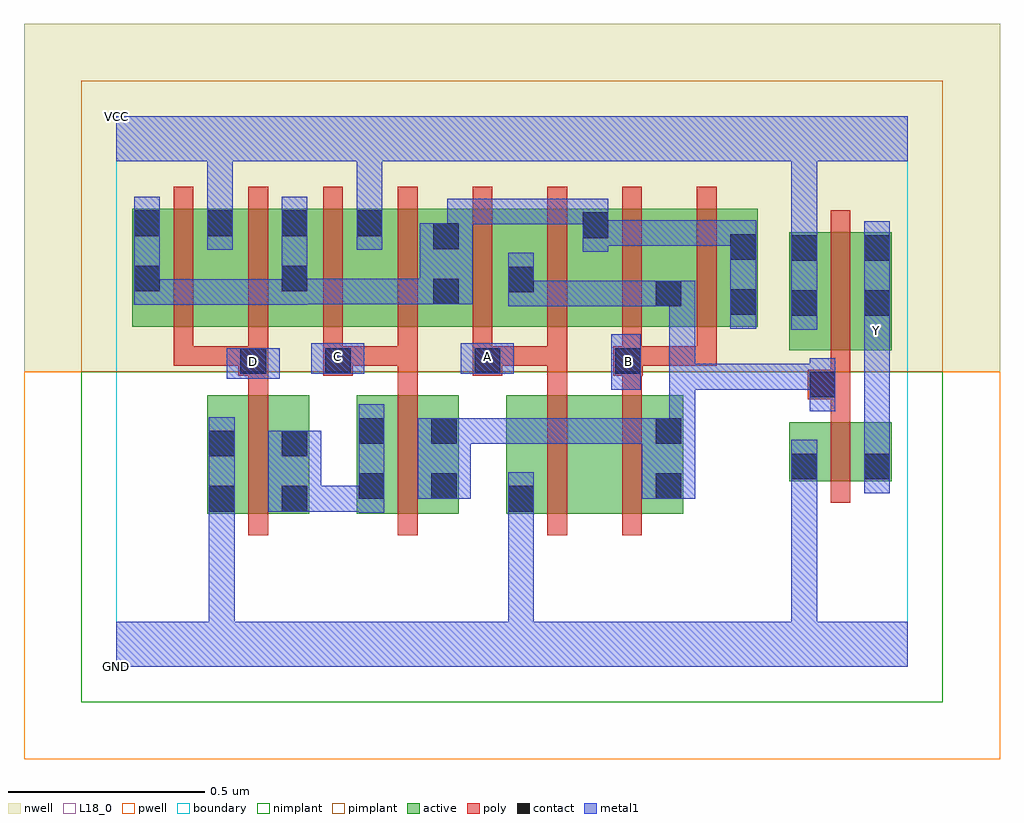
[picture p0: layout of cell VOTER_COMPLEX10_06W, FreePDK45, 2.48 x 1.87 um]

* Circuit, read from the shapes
.subckt VOTER_COMPLEX10_06W A B C D GND VCC Y
M1 n1 D GND VSUBS nfet w=0.3u l=0.05u
M2 n2 C n1 VSUBS nfet w=0.3u l=0.05u
M3 n3 A GND VSUBS nfet w=0.3u l=0.05u
M4 n2 B n3 VSUBS nfet w=0.3u l=0.05u
M5 Y n2 GND VSUBS nfet w=0.15u l=0.05u
M6 VCC D n4 n5 pfet w=0.3u l=0.05u m=2
M7 VCC C n4 n5 pfet w=0.3u l=0.05u m=2
M8 n2 A n4 n5 pfet w=0.3u l=0.05u m=2
M9 n2 B n4 n5 pfet w=0.3u l=0.05u m=2
M10 Y n2 VCC n5 pfet w=0.3u l=0.05u
.ends

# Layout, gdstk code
import gdstk
lib = gdstk.Library(unit=1e-6, precision=1e-09)
def R(c, l, rs):  # rectangles x0, y0, x1, y1
    for r in rs: c.add(gdstk.rectangle(r[:2], r[2:], *l))
def A(c, l, x, y, w, h, nx, ny, dx, dy):  # array of equal rectangles
    R(c, l, [(x+i*dx, y+j*dy, x+i*dx+w, y+j*dy+h) for i in range(nx) for j in range(ny)])
active = (1, 0)
pwell = (2, 0)
nwell = (3, 0)
nimplant = (4, 0)
pimplant = (5, 0)
poly = (9, 0)
contact = (10, 0)
metal1 = (11, 0)
L18_0 = (18, 0)
boundary = (235, 0)

voter_complex10_06w = lib.new_cell('VOTER_COMPLEX10_06W')
A(voter_complex10_06w, active, 0.225, 0.865, 0.075, 0.3, 3, 1, 0.19, 0)
R(voter_complex10_06w, active, [(0.23,0.39,0.305,0.69), (0.23,0.39,0.49,0.69), (0.415,0.39,0.49,0.69), (0.61,0.39,0.87,0.69), (0.99,0.39,1.215,0.69), (0.99,0.39,1.065,0.69), (1.215,0.39,1.44,0.69), (0.61,0.395,0.685,0.69), (0.795,0.395,0.87,0.69), (1.365,0.395,1.44,0.69), (1.71,0.472,1.785,0.622), (1.71,0.472,1.97,0.622), (1.895,0.472,1.97,0.622), (1.71,0.805,1.785,1.105), (1.71,0.805,1.97,1.105), (1.895,0.805,1.97,1.105), (0.04,0.865,0.115,1.165), (0.04,0.865,0.3,1.165), (0.225,0.865,0.49,1.165), (0.415,0.865,0.68,1.165), (0.605,0.865,0.875,1.165), (0.8,0.865,1.065,1.165), (0.8,0.865,0.875,1.132), (0.99,0.865,1.255,1.165), (1.18,0.865,1.255,1.16), (1.18,0.865,1.44,1.165), (1.365,0.865,1.63,1.165), (1.555,0.865,1.63,1.105), (1.365,0.912,1.44,1.07), (0.99,0.947,1.065,1.07)])
R(voter_complex10_06w, pwell, [(-0.235,-0.235,2.245,0.75)])
R(voter_complex10_06w, nwell, [(-0.235,0.75,2.245,1.635)])
R(voter_complex10_06w, nimplant, [(-0.09,-0.09,2.1,0.75)])
R(voter_complex10_06w, pimplant, [(-0.09,0.75,2.1,1.49)])
A(voter_complex10_06w, poly, 0.335, 0.335, 0.05, 0.41, 3, 1, 0.38, 0)
A(voter_complex10_06w, poly, 0.145, 0.765, 0.05, 0.095, 8, 1, 0.19, 0)
A(voter_complex10_06w, poly, 0.145, 0.81, 0.05, 0.41, 8, 1, 0.19, 0)
R(voter_complex10_06w, poly, [(1.285,0.335,1.335,0.745), (1.815,0.417,1.865,0.677), (1.815,0.627,1.865,0.73), (1.757,0.68,1.865,0.755), (0.335,0.695,0.385,0.79), (0.715,0.695,0.765,0.815), (1.095,0.695,1.145,0.815), (1.285,0.695,1.335,0.79), (1.815,0.705,1.865,0.8), (0.31,0.74,0.385,0.815), (0.525,0.74,0.6,0.815), (0.905,0.74,0.98,0.815), (1.262,0.74,1.337,0.815), (1.815,0.75,1.865,1.16), (0.145,0.765,0.195,0.815), (0.145,0.765,0.195,0.815), (0.145,0.765,0.195,0.815), (0.145,0.765,0.36,0.815), (0.55,0.765,0.6,0.815), (0.55,0.765,0.6,0.815), (0.55,0.765,0.765,0.815), (0.715,0.765,0.765,0.815), (0.93,0.765,0.98,0.815), (0.93,0.765,0.98,0.815), (0.93,0.765,1.145,0.815), (1.095,0.765,1.145,0.815), (1.287,0.765,1.525,0.815), (1.287,0.765,1.337,0.815), (1.287,0.765,1.337,0.815), (1.475,0.765,1.525,0.815)])
A(voter_complex10_06w, contact, 0.23, 1.095, 0.065, 0.065, 3, 1, 0.19, 0)
R(voter_complex10_06w, contact, [(0.235,0.395,0.3,0.46), (0.42,0.395,0.485,0.46), (0.995,0.395,1.06,0.46), (0.615,0.427,0.68,0.492), (0.8,0.427,0.865,0.492), (1.37,0.427,1.435,0.492), (1.715,0.477,1.78,0.542), (1.9,0.477,1.965,0.542), (0.235,0.535,0.3,0.6), (0.42,0.535,0.485,0.6), (0.615,0.567,0.68,0.632), (0.8,0.567,0.865,0.632), (1.37,0.567,1.435,0.632), (1.762,0.685,1.827,0.75), (0.315,0.745,0.38,0.81), (0.53,0.745,0.595,0.81), (0.91,0.745,0.975,0.81), (1.267,0.745,1.332,0.81), (1.715,0.892,1.78,0.957), (1.9,0.892,1.965,0.957), (1.56,0.895,1.625,0.96), (1.37,0.917,1.435,0.982), (0.805,0.922,0.87,0.987), (0.995,0.952,1.06,1.017), (0.045,0.955,0.11,1.02), (0.42,0.955,0.485,1.02), (1.715,1.032,1.78,1.097), (1.9,1.032,1.965,1.097), (1.56,1.035,1.625,1.1), (0.805,1.062,0.87,1.127), (1.185,1.09,1.25,1.155), (0.045,1.095,0.11,1.16)])
R(voter_complex10_06w, metal1, [(0,0,2.01,0.115), (0.235,0.05,0.3,0.115), (0.235,0.05,0.3,0.115), (0.235,0.05,0.3,0.115), (0.235,0.05,0.3,0.115), (0.235,0.05,0.3,0.425), (0.995,0.05,1.06,0.115), (0.995,0.05,1.06,0.115), (0.995,0.05,1.06,0.115), (0.995,0.05,1.06,0.115), (0.995,0.05,1.06,0.425), (1.715,0.05,1.78,0.115), (1.715,0.05,1.78,0.115), (1.715,0.05,1.78,0.115), (1.715,0.05,1.78,0.115), (1.715,0.05,1.78,0.507), (0.235,0.36,0.3,0.635), (0.995,0.36,1.06,0.495), (0.615,0.392,0.68,0.667), (0.385,0.395,0.52,0.6), (0.455,0.395,0.52,0.46), (0.455,0.395,0.52,0.46), (0.455,0.395,0.68,0.46), (0.765,0.427,0.9,0.632), (1.335,0.427,1.47,0.632), (1.715,0.442,1.78,0.507), (1.715,0.442,1.78,0.507), (1.715,0.442,1.78,0.577), (1.9,0.442,1.965,0.577), (1.9,0.512,1.965,0.852), (0.835,0.567,0.9,0.632), (0.835,0.567,0.9,0.632), (0.835,0.567,1.042,0.632), (0.977,0.567,1.042,0.632), (0.977,0.567,1.042,0.632), (0.977,0.567,1.042,0.632), (0.977,0.567,1.262,0.632), (1.197,0.567,1.262,0.632), (1.197,0.567,1.4,0.632), (1.335,0.567,1.4,0.632), (1.335,0.567,1.4,0.632), (1.405,0.567,1.47,0.77), (1.762,0.65,1.827,0.785), (1.257,0.705,1.332,0.845), (1.405,0.705,1.47,0.77), (1.405,0.705,1.642,0.77), (1.405,0.705,1.47,0.982), (1.577,0.705,1.642,0.77), (1.577,0.705,1.642,0.77), (1.577,0.705,1.642,0.77), (1.577,0.705,1.827,0.77), (1.762,0.705,1.827,0.77), (1.762,0.705,1.827,0.77), (0.28,0.732,0.415,0.81), (0.495,0.745,0.63,0.822), (0.875,0.745,1.01,0.822), (1.9,0.787,1.965,0.922), (1.715,0.857,1.78,1.132), (1.9,0.857,1.965,0.922), (1.9,0.857,1.965,1.132), (1.56,0.86,1.625,1.135), (0.995,0.917,1.06,0.982), (0.995,0.917,1.06,0.982), (0.995,0.917,1.06,1.052), (0.995,0.917,1.262,0.982), (1.197,0.917,1.262,0.982), (1.197,0.917,1.262,0.982), (1.197,0.917,1.262,0.982), (1.197,0.917,1.4,0.982), (1.335,0.917,1.47,0.982), (0.045,0.92,0.11,0.985), (0.045,0.92,0.11,0.985), (0.045,0.92,0.11,1.195), (0.045,0.92,0.312,0.985), (0.247,0.92,0.312,0.985), (0.247,0.92,0.312,0.985), (0.247,0.92,0.312,0.985), (0.247,0.92,0.485,0.985), (0.42,0.92,0.485,1.195), (0.42,0.922,0.485,0.987), (0.42,0.922,0.485,0.987), (0.42,0.922,0.692,0.987), (0.627,0.922,0.692,0.987), (0.627,0.922,0.692,0.987), (0.627,0.922,0.692,0.987), (0.627,0.922,0.835,0.987), (0.77,0.922,0.905,1.127), (1.185,1.055,1.25,1.19), (0.23,1.06,0.295,1.195), (0.61,1.06,0.675,1.195), (0.84,1.062,0.905,1.19), (1.715,1.067,1.78,1.35), (1.185,1.07,1.4,1.135), (1.335,1.07,1.4,1.135), (1.335,1.07,1.4,1.135), (1.335,1.07,1.4,1.135), (1.335,1.07,1.625,1.135), (1.56,1.07,1.625,1.135), (1.56,1.07,1.625,1.135), (0.84,1.125,0.905,1.19), (0.84,1.125,0.905,1.19), (0.84,1.125,0.905,1.19), (0.84,1.125,1.042,1.19), (0.977,1.125,1.042,1.19), (0.977,1.125,1.042,1.19), (0.977,1.125,1.042,1.19), (0.977,1.125,1.25,1.19), (0.23,1.13,0.295,1.195), (0.23,1.13,0.295,1.195), (0.23,1.13,0.295,1.35), (0.61,1.13,0.675,1.195), (0.61,1.13,0.675,1.195), (0.61,1.13,0.675,1.35), (0,1.285,2.01,1.4), (1.715,1.285,1.78,1.35), (1.715,1.285,1.78,1.35)])
R(voter_complex10_06w, L18_0, [(0,0,2.01,0.115), (0.235,0.05,0.3,0.115), (0.235,0.05,0.3,0.115), (0.235,0.05,0.3,0.115), (0.235,0.05,0.3,0.115), (0.235,0.05,0.3,0.425), (0.995,0.05,1.06,0.115), (0.995,0.05,1.06,0.115), (0.995,0.05,1.06,0.115), (0.995,0.05,1.06,0.115), (0.995,0.05,1.06,0.425), (1.715,0.05,1.78,0.115), (1.715,0.05,1.78,0.115), (1.715,0.05,1.78,0.115), (1.715,0.05,1.78,0.115), (1.715,0.05,1.78,0.507), (0.235,0.36,0.3,0.635), (0.995,0.36,1.06,0.495), (1.715,0.442,1.78,0.507), (1.715,0.442,1.78,0.507), (1.715,0.442,1.78,0.577), (1.9,0.442,1.965,0.577), (1.9,0.512,1.965,0.852), (1.257,0.705,1.332,0.845), (0.28,0.732,0.415,0.81), (0.315,0.745,0.38,0.81), (0.495,0.745,0.63,0.822), (0.875,0.745,1.01,0.822), (1.267,0.745,1.332,0.81), (0.53,0.757,0.595,0.822), (0.91,0.757,0.975,0.822), (1.9,0.787,1.965,0.922), (1.9,0.822,1.965,0.887), (1.715,0.857,1.78,1.132), (1.9,0.857,1.965,0.922), (1.9,0.857,1.965,1.132), (0.23,1.06,0.295,1.195), (0.61,1.06,0.675,1.195), (1.715,1.067,1.78,1.35), (0.23,1.13,0.295,1.195), (0.23,1.13,0.295,1.195), (0.23,1.13,0.295,1.35), (0.61,1.13,0.675,1.195), (0.61,1.13,0.675,1.195), (0.61,1.13,0.675,1.35), (0,1.285,2.01,1.4), (1.715,1.285,1.78,1.35), (1.715,1.285,1.78,1.35)])
R(voter_complex10_06w, boundary, [(0,0,2.01,1.4)])
voter_complex10_06w.add(gdstk.Label('A', (0.942,0.79), layer=11, texttype=0))
voter_complex10_06w.add(gdstk.Label('B', (1.3,0.777), layer=11, texttype=0))
voter_complex10_06w.add(gdstk.Label('C', (0.562,0.79), layer=11, texttype=0))
voter_complex10_06w.add(gdstk.Label('D', (0.347,0.777), layer=11, texttype=0))
voter_complex10_06w.add(gdstk.Label('Y', (1.932,0.855), layer=11, texttype=0))
voter_complex10_06w.add(gdstk.Label('VCC', (0,1.4), layer=11, texttype=0))
voter_complex10_06w.add(gdstk.Label('GND', (0,0), layer=11, texttype=0))

lib.write_gds('VOTER_COMPLEX10_06W.gds')
